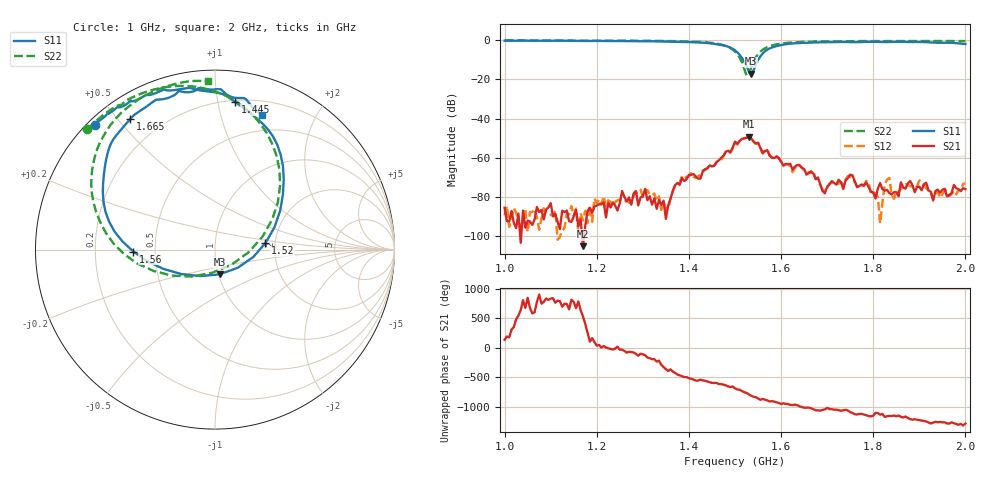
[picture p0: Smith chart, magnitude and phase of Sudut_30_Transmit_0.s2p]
# Hz S RI R 50
! CMT, C1220, 16058040, 17.2.0/1
! Date: 15/08/2018 08:59:43
! Data: Format (Calibration Info)
! Freq  S11: Re/Im (F2)  S21: Re/Im (F2)  S12: Re/Im (F2)  S22: Re/Im (F2)
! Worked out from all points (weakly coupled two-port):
!   201 points, 1 GHz to 2 GHz, reference 50 ohm
!   highest |S21| = -49.23 dB at 1.53 GHz (marker M1); lowest = -105.0 dB at 1.17 GHz (marker M2)
!   lowest |S11| = -17.1 dB at 1.535 GHz (marker M3), VSWR 1.33, Z = 50.6 - j14.2 ohm
!   |S11| at or under -10 dB: 1.517 GHz to 1.551 GHz (33.07 MHz wide, 2.16 % of centre)
!   |S22| runs from -18.1 to -0.2 dB; largest |S21 - S12| = 0.00025
!   S11 on the Smith chart (normalised r, x): 1 GHz: 0.02, +0.43; 1.445 GHz: 0.21, +1.12; 1.52 GHz: 1.77, +0.14; 1.56 GHz: 0.37, -0.01; 1.665 GHz: 0.09, +0.54; 2 GHz: 0.33, +1.36
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1e9  -0.6662 0.6947  -4.05e-05 3.51e-05  -3.06e-05 1.56e-05  -0.7108 0.6717
1.17e9  -0.5007 0.8054  -5.62e-06 2.71e-07  -1.21e-05 2.25e-05  -0.5588 0.7936
1.335e9  -0.2597 0.8865  -6.79e-05 4.9e-05  -2.19e-05 0.000103  -0.3263 0.8953
1.445e9  0.113 0.8223  -0.000491 0.000412  -0.000488 0.000458  0.0585 0.8584
1.5e9  0.383 0.3909  0.00218 0.00141  0.00201 0.00133  0.3627 0.3573
1.52e9  0.2806 0.036  0.00265 -0.00171  0.00267 -0.00164  0.1881 -0.014
1.53e9  0.1268 -0.1013  0.00116 -0.00325  0.00122 -0.00329  -0.0154 -0.1291
1.535e9  0.0256 -0.1377  -0.00013 -0.00317  -0.000105 -0.00318  -0.1295 -0.1503
1.56e9  -0.4553 -0.0107  -0.0011 -0.000688  -0.00118 -0.000684  -0.5644 0.0329
1.665e9  -0.472 0.7278  0.000253 0.000377  0.000245 0.000333  -0.562 0.7186
1.67e9  -0.4617 0.7392  0.000318 0.000242  0.000369 0.000273  -0.5514 0.7311
1.695e9  -0.4162 0.7734  0.000102 7.16e-05  9.74e-05 0.00011  -0.5041 0.7786
1.745e9  -0.3072 0.8363  0.000293 8.23e-05  0.000343 3.91e-05  -0.4128 0.8445
1.805e9  -0.1891 0.8805  8.47e-05 -3.56e-05  0.000102 -6.6e-05  -0.3172 0.8918
1.815e9  -0.1641 0.8769  0.00013 -0.000186  -1.17e-05 1.79e-05  -0.3021 0.898
1.835e9  -0.1075 0.8865  3.24e-05 -0.000122  -9.09e-05 -0.000294  -0.2739 0.9077
1.845e9  -0.0959 0.8956  4.6e-05 -0.000125  -6.51e-06 -8.95e-05  -0.258 0.9124
1.86e9  -0.085 0.8992  -7.76e-06 -0.000238  1.51e-06 -0.000164  -0.2368 0.9189
1.9e9  0.023 0.8945  -0.000157 -9.82e-05  -0.000221 -0.000145  -0.1768 0.9326
1.915e9  0.0432 0.8838  -0.00023 -3.25e-05  -0.00017 5.21e-06  -0.1543 0.9357
1.93e9  0.0736 0.8584  -8.05e-05 1.54e-05  -8.24e-05 -3.09e-05  -0.1327 0.9391
2e9  0.2631 0.7491  -0.000144 7.03e-05  -0.00019 0.000119  -0.0386 0.9417
